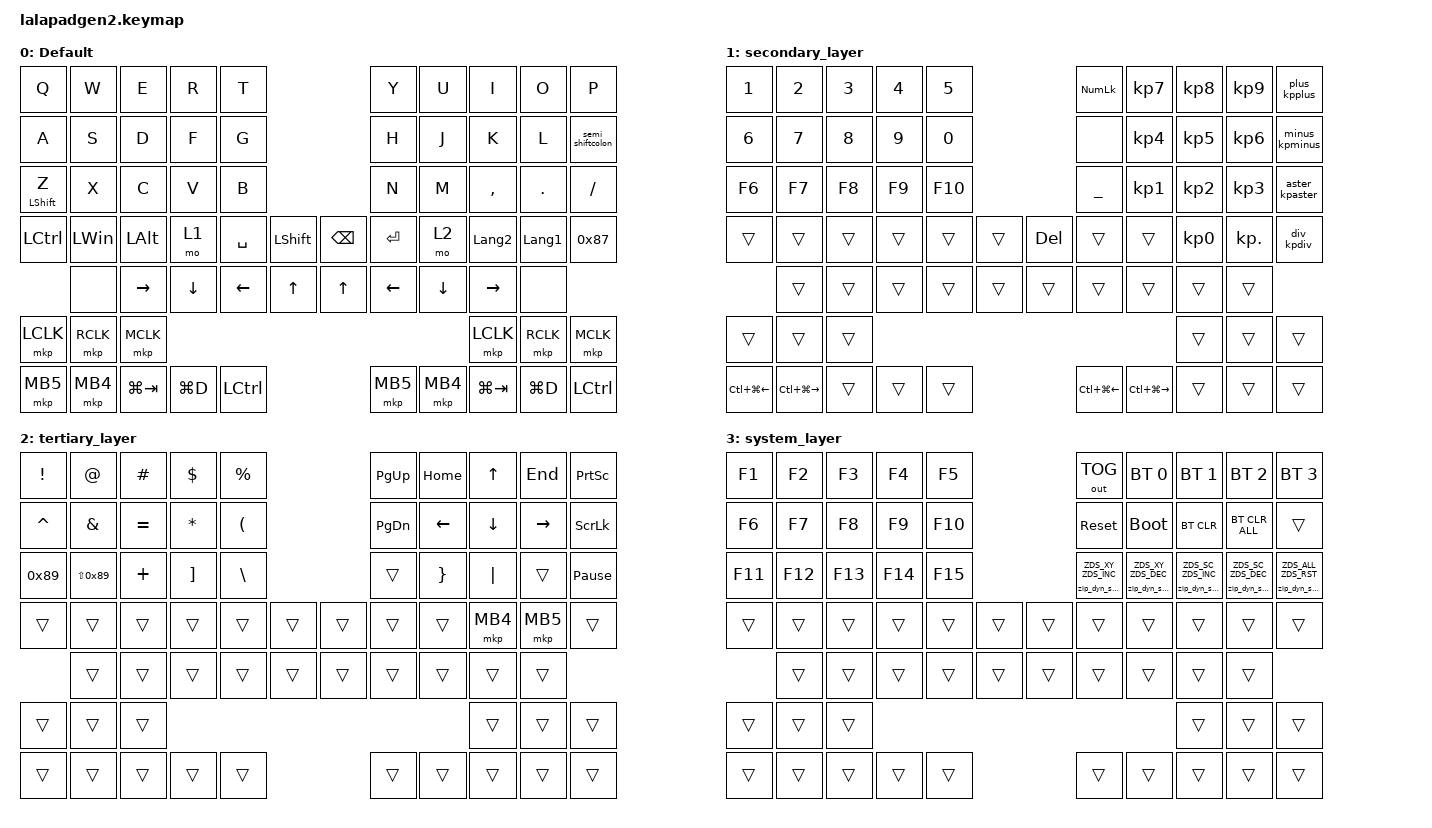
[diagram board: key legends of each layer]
#include <input/processors.dtsi>
#include <dt-bindings/zmk/zip_dynamic_scale.h>
#include <behaviors.dtsi>
#include <dt-bindings/zmk/bt.h>
#include <dt-bindings/zmk/keys.h>
#include <dt-bindings/zmk/outputs.h>
#include <dt-bindings/zmk/pointing.h>

#define DEFAULT_LAYER   0
#define SECONDARY_LAYER 1
#define TERTIARY_LAYER  2
#define SYSTEM_LAYER    3

&mt { quick-tap-ms = <200>; };

&lt { quick-tap-ms = <200>; };

/ {
    behaviors {
        zip_dyn_scale: zip_dyn_scale {
            compatible = "zmk,behavior-zip-dynamic-scale";
            #binding-cells = <2>;
        };

        zip_dyn_scale_set: zip_dyn_scale_set {
            compatible = "zmk,behavior-zip-dynamic-scale-set";
            #binding-cells = <2>;
        };

        mt2: mod_tap2 {
            compatible = "zmk,behavior-hold-tap";
            #binding-cells = <2>;
            flavor = "tap-preferred";
            tapping-term-ms = <200>;
            quick-tap-ms = <200>;
            require-prior-idle-ms = <125>;
            bindings = <&kp>, <&kp>;
        };

        tap_dance_layer_1and2: tap_dance_layer_1and2 {
            compatible = "zmk,behavior-tap-dance";
            label = "td_mo12";
            #binding-cells = <0>;
            bindings = <&mo 1>, <&mo 2>;
        };

        semi_shiftcolon: semi_shiftcolon {
            compatible = "zmk,behavior-mod-morph";
            label = "SEMI_SHIFTCOLON";
            bindings = <&kp SEMI>, <&kp SINGLE_QUOTE>;

            #binding-cells = <0>;
            mods = <(MOD_LSFT|MOD_RSFT)>;
        };

        plus_kpplus: plus_kpplus {
            compatible = "zmk,behavior-mod-morph";
            label = "PLUS_KPPLUS";
            bindings = <&kp COLON>, <&kp KP_PLUS>;

            #binding-cells = <0>;
            mods = <(MOD_LSFT|MOD_RSFT)>;
        };

        minus_kpminus: minus_kpminus {
            compatible = "zmk,behavior-mod-morph";
            label = "MINUS_KPMINUS";
            bindings = <&kp MINUS>, <&kp KP_MINUS>;

            #binding-cells = <0>;
            mods = <(MOD_LSFT|MOD_RSFT)>;
        };

        aster_kpaster: aster_kpaster {
            compatible = "zmk,behavior-mod-morph";
            label = "ASTER_KPASTER";
            bindings = <&kp DOUBLE_QUOTES>, <&kp KP_ASTERISK>;

            #binding-cells = <0>;
            mods = <(MOD_LSFT|MOD_RSFT)>;
        };

        div_kpdiv: div_kpdiv {
            compatible = "zmk,behavior-mod-morph";
            label = "DIV_KPDIV";
            bindings = <&kp SLASH>, <&kp KP_DIVIDE>;

            #binding-cells = <0>;
            mods = <(MOD_LSFT|MOD_RSFT)>;
        };
    };

    combos {
        compatible = "zmk,combos";

        CONBO_ESC {
            bindings = <&kp ESCAPE>;
            key-positions = <0 1>;
        };

        COMBO_TAB {
            bindings = <&kp TAB>;
            key-positions = <10 11>;
        };

        COMBO_AT {
            bindings = <&kp LEFT_BRACKET>;
            key-positions = <18 19>;
        };
    };

    keymap {
        compatible = "zmk,keymap";

        DEFAULT_LAYER {
            display-name = "Default";
            bindings = <
&kp Q              &kp W      &kp E         &kp R      &kp T                                     &kp Y      &kp U     &kp I           &kp O           &kp P
&kp A              &kp S      &kp D         &kp F      &kp G                                     &kp H      &kp J     &kp K           &kp L           &semi_shiftcolon
&mt2 LEFT_SHIFT Z  &kp X      &kp C         &kp V      &kp B                                     &kp N      &kp M     &kp COMMA       &kp PERIOD      &kp SLASH
&kp LCTRL          &kp LWIN   &kp LEFT_ALT  &mo 1      &kp SPACE  &kp LEFT_SHIFT  &kp BACKSPACE  &kp ENTER  &mo 2     &kp LANGUAGE_2  &kp LANGUAGE_1  &kp 0x87
                   &none      &kp RIGHT     &kp DOWN   &kp LEFT   &kp UP          &kp UP         &kp LEFT   &kp DOWN  &kp RIGHT       &none
&mkp LCLK          &mkp RCLK  &mkp MCLK                                                                               &mkp LCLK       &mkp RCLK       &mkp MCLK
&mkp MB5           &mkp MB4   &kp LG(TAB)   &kp LG(D)  &kp LCTRL                                 &mkp MB5   &mkp MB4  &kp LG(TAB)     &kp LG(D)       &kp LCTRL
            >;
        };

        SECONDARY_LAYER {
            display-name = "secondary_layer";
            bindings = <
&kp NUMBER_1      &kp NUMBER_2       &kp NUMBER_3  &kp NUMBER_4  &kp N5                    &kp KP_NUMLOCK    &kp KP_NUMBER_7    &kp KP_NUMBER_8  &kp KP_NUMBER_9  &plus_kpplus
&kp NUMBER_6      &kp N7             &kp N8        &kp N9        &kp N0                    &none             &kp KP_NUMBER_4    &kp KP_NUMBER_5  &kp KP_NUMBER_6  &minus_kpminus
&kp F6            &kp F7             &kp F8        &kp F9        &kp F10                   &kp UNDER         &kp KP_NUMBER_1    &kp KP_NUMBER_2  &kp KP_NUMBER_3  &aster_kpaster
&trans            &trans             &trans        &trans        &trans   &trans  &kp DEL  &trans            &trans             &kp KP_NUMBER_0  &kp KP_DOT       &div_kpdiv
                  &trans             &trans        &trans        &trans   &trans  &trans   &trans            &trans             &trans           &trans
&trans            &trans             &trans                                                                                     &trans           &trans           &trans
&kp LC(LG(LEFT))  &kp LC(LG(RIGHT))  &trans        &trans        &trans                    &kp LC(LG(LEFT))  &kp LC(LG(RIGHT))  &trans           &trans           &trans
            >;
        };

        TERTIARY_LAYER {
            display-name = "tertiary_layer";
            bindings = <
&kp EXCLAMATION  &kp AT         &kp HASH   &kp DOLLAR         &kp PERCENT                           &kp PAGE_UP    &kp HOME         &kp UP_ARROW    &kp END    &kp PRINTSCREEN
&kp CARET        &kp AMPERSAND  &kp EQUAL  &kp ASTERISK       &kp LEFT_PARENTHESIS                  &kp PAGE_DOWN  &kp LEFT         &kp DOWN_ARROW  &kp RIGHT  &kp SCROLLLOCK
&kp 0x89         &kp LS(0x89)   &kp PLUS   &kp RIGHT_BRACKET  &kp BACKSLASH                         &trans         &kp RIGHT_BRACE  &kp PIPE        &trans     &kp PAUSE_BREAK
&trans           &trans         &trans     &trans             &trans                &trans  &trans  &trans         &trans           &mkp MB4        &mkp MB5   &trans
                 &trans         &trans     &trans             &trans                &trans  &trans  &trans         &trans           &trans          &trans
&trans           &trans         &trans                                                                                              &trans          &trans     &trans
&trans           &trans         &trans     &trans             &trans                                &trans         &trans           &trans          &trans     &trans
            >;
        };

        SYSTEM_LAYER {
            display-name = "system_layer";
            bindings = <
&kp F1   &kp F2   &kp F3   &kp F4   &kp F5                   &out OUT_TOG                   &bt BT_SEL 0                   &bt BT_SEL 1                   &bt BT_SEL 2                   &bt BT_SEL 3
&kp F6   &kp F7   &kp F8   &kp F9   &kp F10                  &sys_reset                     &bootloader                    &bt BT_CLR                     &bt BT_CLR_ALL                 &trans
&kp F11  &kp F12  &kp F13  &kp F14  &kp F15                  &zip_dyn_scale ZDS_XY ZDS_INC  &zip_dyn_scale ZDS_XY ZDS_DEC  &zip_dyn_scale ZDS_SC ZDS_INC  &zip_dyn_scale ZDS_SC ZDS_DEC  &zip_dyn_scale ZDS_ALL ZDS_RST
&trans   &trans   &trans   &trans   &trans   &trans  &trans  &trans                         &trans                         &trans                         &trans                         &trans
         &trans   &trans   &trans   &trans   &trans  &trans  &trans                         &trans                         &trans                         &trans
&trans   &trans   &trans                                                                                                   &trans                         &trans                         &trans
&trans   &trans   &trans   &trans   &trans                   &trans                         &trans                         &trans                         &trans                         &trans
            >;
        };
    };

    conditional_layers {
        compatible = "zmk,conditional-layers";

        Cond_Syslayer {
            if-layers = <1 2>;
            then-layer = <3>;
        };
    };
};
